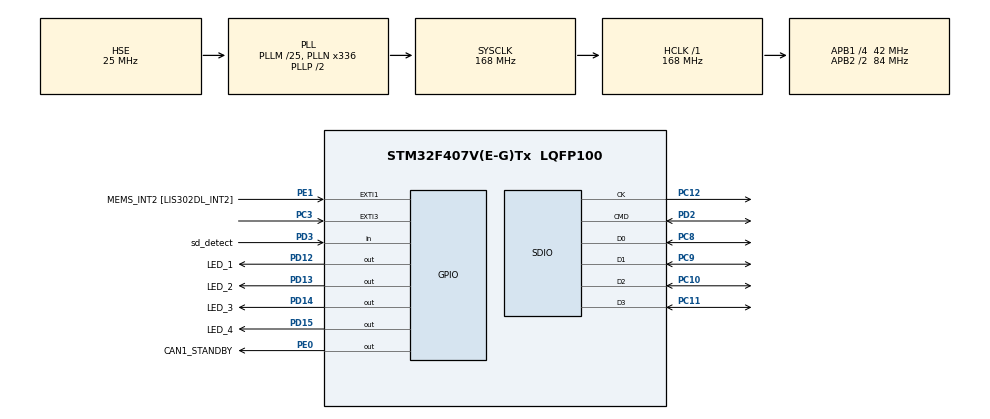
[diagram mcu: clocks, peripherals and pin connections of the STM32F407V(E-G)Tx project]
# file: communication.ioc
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Dma.Request0=SDIO_RX
Dma.Request1=SDIO_TX
Dma.SDIO_RX.0.Direction=DMA_PERIPH_TO_MEMORY
Dma.SDIO_RX.0.FIFOMode=DMA_FIFOMODE_ENABLE
Dma.SDIO_RX.0.FIFOThreshold=DMA_FIFO_THRESHOLD_FULL
Dma.SDIO_RX.0.Instance=DMA2_Stream3
Dma.SDIO_RX.0.MemBurst=DMA_MBURST_INC4
Dma.SDIO_RX.0.MemDataAlignment=DMA_MDATAALIGN_WORD
Dma.SDIO_RX.0.MemInc=DMA_MINC_ENABLE
Dma.SDIO_RX.0.Mode=DMA_PFCTRL
Dma.SDIO_RX.0.PeriphBurst=DMA_PBURST_INC4
Dma.SDIO_RX.0.PeriphDataAlignment=DMA_PDATAALIGN_WORD
Dma.SDIO_RX.0.PeriphInc=DMA_PINC_DISABLE
Dma.SDIO_RX.0.Priority=DMA_PRIORITY_VERY_HIGH
Dma.SDIO_TX.1.Direction=DMA_MEMORY_TO_PERIPH
Dma.SDIO_TX.1.FIFOMode=DMA_FIFOMODE_ENABLE
Dma.SDIO_TX.1.FIFOThreshold=DMA_FIFO_THRESHOLD_FULL
Dma.SDIO_TX.1.Instance=DMA2_Stream6
Dma.SDIO_TX.1.MemBurst=DMA_MBURST_INC4
Dma.SDIO_TX.1.MemDataAlignment=DMA_MDATAALIGN_WORD
Dma.SDIO_TX.1.MemInc=DMA_MINC_ENABLE
Dma.SDIO_TX.1.Mode=DMA_PFCTRL
Dma.SDIO_TX.1.PeriphBurst=DMA_PBURST_INC4
Dma.SDIO_TX.1.PeriphDataAlignment=DMA_PDATAALIGN_WORD
Dma.SDIO_TX.1.PeriphInc=DMA_PINC_DISABLE
Dma.SDIO_TX.1.Priority=DMA_PRIORITY_VERY_HIGH
FATFS.BSP.number=1
FATFS.USE_DMA_CODE_SD=1
FATFS._MAX_SS=4096
FATFS0.BSP.STBoard=false
FATFS0.BSP.api=Unknown
FATFS0.BSP.i2caddr=0
FATFS0.BSP.instance=PD3
FATFS0.BSP.ip=GPIO
FATFS0.BSP.mode=Input
FATFS0.BSP.name=Detect_SDIO
FATFS0.BSP.solution=PD3
Mcu.Family=STM32F4
Mcu.Name=STM32F407V(E-G)Tx
Mcu.Package=LQFP100
NVIC.DMA2_Stream3_IRQn=true\:5\:0\:true\:false\:true\:false\:true
NVIC.DMA2_Stream6_IRQn=true\:5\:0\:true\:false\:true\:false\:true
NVIC.EXTI3_IRQn=true\:0\:0\:false\:false\:true\:true\:true
NVIC.PriorityGroup=NVIC_PRIORITYGROUP_4
NVIC.SDIO_IRQn=true\:5\:0\:true\:false\:true\:true\:true
NVIC.TIM1_UP_TIM10_IRQn=true\:0\:0\:false\:false\:true\:false\:true
NVIC.TimeBase=TIM1_UP_TIM10_IRQn
NVIC.TimeBaseIP=TIM1
PA10.Signal=USART1_RX
PA13.GPIO_Label=SWDIO
PA13.Mode=Trace_Asynchronous_SW
PA13.Signal=SYS_JTMS-SWDIO
PA14.GPIO_Label=SWCLK
PA14.Mode=Trace_Asynchronous_SW
PA14.Signal=SYS_JTCK-SWCLK
PA5.Signal=SPI1_SCK
PA7.Signal=SPI1_MOSI
PA9.Signal=USART1_TX
PB3.GPIO_Label=SWO
PB3.Mode=Trace_Asynchronous_SW
PB3.Signal=SYS_JTDO-SWO
PC10.GPIO_PuPd=GPIO_PULLUP
PC10.Mode=SD_4_bits_Wide_bus
PC10.Signal=SDIO_D2
PC11.GPIO_PuPd=GPIO_PULLUP
PC11.Mode=SD_4_bits_Wide_bus
PC11.Signal=SDIO_D3
PC12.GPIO_PuPd=GPIO_PULLUP
PC12.Mode=SD_4_bits_Wide_bus
PC12.Signal=SDIO_CK
PC14-OSC32_IN.GPIO_Label=PC14-OSC32_IN
PC14-OSC32_IN.Mode=LSE-External-Oscillator
PC14-OSC32_IN.Signal=RCC_OSC32_IN
PC15-OSC32_OUT.GPIO_Label=PC15-OSC32_OUT
PC15-OSC32_OUT.Mode=LSE-External-Oscillator
PC15-OSC32_OUT.Signal=RCC_OSC32_OUT
PC3.GPIO_ModeDefaultEXTI=GPIO_MODE_IT_FALLING
PC3.GPIO_PuPd=GPIO_PULLUP
PC3.Signal=GPXTI3
PC8.GPIO_PuPd=GPIO_PULLUP
PC8.Mode=SD_4_bits_Wide_bus
PC8.Signal=SDIO_D0
PC9.GPIO_PuPd=GPIO_PULLUP
PC9.Mode=SD_4_bits_Wide_bus
PC9.Signal=SDIO_D1
PD12.GPIO_Label=LED_1
PD12.Signal=GPIO_Output
PD13.GPIO_Label=LED_2
PD13.Signal=GPIO_Output
PD14.GPIO_Label=LED_3
PD14.Signal=GPIO_Output
PD15.GPIO_Label=LED_4
PD15.GPIO_PuPd=GPIO_NOPULL
PD15.GPIO_Speed=GPIO_SPEED_FREQ_LOW
PD15.Signal=GPIO_Output
PD2.GPIO_PuPd=GPIO_PULLUP
PD2.Mode=SD_4_bits_Wide_bus
PD2.Signal=SDIO_CMD
PD3.GPIO_Label=sd_detect
PD3.GPIO_PuPd=GPIO_PULLDOWN
PD3.Signal=GPIO_Input
PE0.GPIO_Label=CAN1_STANDBY
PE0.Signal=GPIO_Output
PE1.GPIO_Label=MEMS_INT2 [LIS302DL_INT2]
PE1.GPIO_ModeDefaultEXTI=GPIO_MODE_EVT_RISING
PE1.GPIO_PuPd=GPIO_NOPULL
PE1.Signal=GPXTI1
PH0-OSC_IN.GPIO_Label=PH0-OSC_IN
PH0-OSC_IN.Mode=HSE-External-Clock-Source
PH0-OSC_IN.Signal=RCC_OSC_IN
PH1-OSC_OUT.Mode=HSE-External-Clock-Source
PH1-OSC_OUT.Signal=RCC_OSC_OUT
ProjectManager.HeapSize=0x200
ProjectManager.StackSize=0x400
ProjectManager.TargetToolchain=Makefile
RCC.48MHZClocksFreq_Value=48000000
RCC.AHBFreq_Value=168000000
RCC.APB1CLKDivider=RCC_HCLK_DIV4
RCC.APB1Freq_Value=42000000
RCC.APB1TimFreq_Value=84000000
RCC.APB2CLKDivider=RCC_HCLK_DIV2
RCC.APB2Freq_Value=84000000
RCC.APB2TimFreq_Value=168000000
RCC.CortexFreq_Value=168000000
RCC.HCLKFreq_Value=168000000
RCC.HSE_VALUE=25000000
RCC.HSI_VALUE=16000000
RCC.PLLM=25
RCC.PLLN=336
RCC.PLLQ=7
RCC.PLLSourceVirtual=RCC_PLLSOURCE_HSE
RCC.SYSCLKFreq_VALUE=168000000
RCC.SYSCLKSource=RCC_SYSCLKSOURCE_PLLCLK
RCC.VCOOutputFreq_Value=336000000
VP_FATFS_VS_SDIO.Mode=SDIO
VP_SYS_VS_tim1.Mode=TIM1
board=STM32F4DISCOVERY

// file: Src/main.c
/* USER CODE BEGIN Header */
/**
  ******************************************************************************
  * @file           : main.c
  * @brief          : Main program body
  ******************************************************************************
  * @attention
  *
  * <h2><center>&copy; Copyright (c) 2019 STMicroelectronics.
  * All rights reserved.</center></h2>
  *
  * This software component is licensed by ST under Ultimate Liberty license
  * SLA0044, the "License"; You may not use this file except in compliance with
  * the License. You may obtain a copy of the License at:
  *                             www.st.com/SLA0044
  *
  ******************************************************************************
  */
/* USER CODE END Header */

#include "main.h"
#include "dma.h"
#include "fatfs.h"
#include "sdio.h"
#include "gpio.h"

/* USER CODE BEGIN Includes */
#include "../../shared/app/blink.h"
#include "../../shared/app/sd.h"
#include "../../shared/bsp/bsp_can.h"
#include "../app/rx.h"
#include "../app/tx.h"
/* USER CODE END Includes */

/* USER CODE BEGIN PV */
//extern canInstance_t can1Instance;
/* USER CODE END PV */

void SystemClock_Config(void);

/* USER CODE BEGIN 0 */

/* TASK BLINK*/
#define APP_BLINK_NAME 		"BLINK"
#define APP_BLINK_ID		1
#define APP_BLINK_PRIORITY 	0
#define APP_BLINK_SIZE 		192

StaticTask_t APP_BLINK_BUFFER;
StackType_t APP_BLINK_STACK[ APP_BLINK_SIZE ];

/* TASK SD*/
#define APP_SD_NAME 	"SD"
#define APP_SD_ID 		2
#define APP_SD_PRIORITY 0
#define APP_SD_SIZE 	1000

StaticTask_t APP_SD_BUFFER;
StackType_t APP_SD_STACK[ APP_SD_SIZE ];

/* TASK TX*/
#define APP_TX_NAME 	"TX"
#define APP_TX_ID 		3
#define APP_TX_PRIORITY 0
#define APP_TX_SIZE 	192

StaticTask_t APP_TX_BUFFER;
StackType_t APP_TX_STACK[ APP_TX_SIZE ];

/* TASK RX*/
#define APP_RX_NAME 	"RX"
#define APP_RX_ID 		4
#define APP_RX_PRIORITY 0
#define APP_RX_SIZE 	192

StaticTask_t APP_RX_BUFFER;
StackType_t APP_RX_STACK[ APP_RX_SIZE ];

/* QUEUE */
#define APP_QUEUE_LENGTH    10
#define APP_ITEM_SIZE 		sizeof( can_reg_t )

static uint8_t ucQueueStorageArea[ APP_QUEUE_LENGTH * APP_ITEM_SIZE ];
static StaticQueue_t xQueueRxRegsHandle;

/* TIMER */
#define APP_NUM_TIMERS 		1
#define APP_TIMER_NAME 		"TIMER"
#define APP_TIMER_PERIOD 	500
#define APP_TIMER_ID 		1

TimerHandle_t regTransmiTtimerHandle;
StaticTimer_t xTimerBuffer;

/* Initialise comm project */
void comm_setup(void){

	QueueHandle_t xQueueRx;

	 //Create static queue
	xQueueRx = xQueueCreateStatic(APP_QUEUE_LENGTH,
			 	 	 	APP_ITEM_SIZE,
						ucQueueStorageArea,
						&xQueueRxRegsHandle);

	 //Create timer
	 regTransmiTtimerHandle = xTimerCreateStatic(APP_TIMER_NAME,
			 	 	 	 	 	 	 	 	 	 (APP_TIMER_PERIOD/portTICK_PERIOD_MS),
												 pdTRUE,
												 ( void * ) 0,
												 regTransmiTtimer_callback,
												 &xTimerBuffer);

}
/* USER CODE END 0 */

int main(void)
{

  /* MCU Configuration--------------------------------------------------------*/

  /* Reset of all peripherals, Initializes the Flash interface and the Systick. */
  HAL_Init();

  /* Configure the system clock */
  SystemClock_Config();

  /* USER CODE BEGIN SysInit */
 // can_canInit();
 // uart1_init();

  /* USER CODE END SysInit */

  /* Initialize all configured peripherals */
  MX_GPIO_Init();
  MX_DMA_Init();
  MX_SDIO_SD_Init();
  MX_FATFS_Init();
  /* USER CODE BEGIN 2 */

  comm_setup();

  TaskHandle_t xHandle = NULL;

   /* Create the task without using any dynamic memory allocation. */
   xHandle = xTaskCreateStatic(
            task_blink,       		/* Function that implements the task. */
            APP_BLINK_NAME,     	/* Text name for the task. */
			APP_BLINK_SIZE,     	/* Number of indexes in the xStack array. */
            ( void * ) NULL,    	/* Parameter passed into the task. */
            APP_BLINK_PRIORITY,		/* Priority at which the task is created. */
			APP_BLINK_STACK,    	/* Array to use as the task's stack. */
            &APP_BLINK_BUFFER );	/* Variable to hold the task's data structure. */

   xHandle = xTaskCreateStatic(
            task_sd,
            APP_SD_NAME,
			APP_SD_SIZE,
            ( void * ) NULL,
            APP_SD_PRIORITY,
			APP_SD_STACK,
            &APP_SD_BUFFER );

   xHandle = xTaskCreateStatic(
            task_rx,
            APP_RX_NAME,
			APP_RX_SIZE,
            ( void * ) NULL,
            APP_RX_PRIORITY,
			APP_RX_STACK,
            &APP_RX_BUFFER );

   xHandle = xTaskCreateStatic(
            task_tx,
            APP_TX_NAME,
			APP_TX_SIZE,
            ( void * ) NULL,
            APP_TX_PRIORITY,
			APP_TX_STACK,
            &APP_TX_BUFFER );

 	/* Start the scheduler. */
 	vTaskStartScheduler();
  /* USER CODE END 2 */

  /* Infinite loop */
  while (1)
  {

  }
}

void SystemClock_Config(void)
{
  RCC_OscInitTypeDef RCC_OscInitStruct = {0};
  RCC_ClkInitTypeDef RCC_ClkInitStruct = {0};

  /** Configure the main internal regulator output voltage
  */
  __HAL_RCC_PWR_CLK_ENABLE();
  __HAL_PWR_VOLTAGESCALING_CONFIG(PWR_REGULATOR_VOLTAGE_SCALE1);
  /** Initializes the CPU, AHB and APB busses clocks
  */
  RCC_OscInitStruct.OscillatorType = RCC_OSCILLATORTYPE_HSE;
  RCC_OscInitStruct.HSEState = RCC_HSE_BYPASS;
  RCC_OscInitStruct.PLL.PLLState = RCC_PLL_ON;
  RCC_OscInitStruct.PLL.PLLSource = RCC_PLLSOURCE_HSE;
  RCC_OscInitStruct.PLL.PLLM = 25;
  RCC_OscInitStruct.PLL.PLLN = 336;
  RCC_OscInitStruct.PLL.PLLP = RCC_PLLP_DIV2;
  RCC_OscInitStruct.PLL.PLLQ = 7;
  if (HAL_RCC_OscConfig(&RCC_OscInitStruct) != HAL_OK)
  {
    Error_Handler();
  }
  /** Initializes the CPU, AHB and APB busses clocks
  */
  RCC_ClkInitStruct.ClockType = RCC_CLOCKTYPE_HCLK|RCC_CLOCKTYPE_SYSCLK
                              |RCC_CLOCKTYPE_PCLK1|RCC_CLOCKTYPE_PCLK2;
  RCC_ClkInitStruct.SYSCLKSource = RCC_SYSCLKSOURCE_PLLCLK;
  RCC_ClkInitStruct.AHBCLKDivider = RCC_SYSCLK_DIV1;
  RCC_ClkInitStruct.APB1CLKDivider = RCC_HCLK_DIV4;
  RCC_ClkInitStruct.APB2CLKDivider = RCC_HCLK_DIV2;

  if (HAL_RCC_ClockConfig(&RCC_ClkInitStruct, FLASH_LATENCY_5) != HAL_OK)
  {
    Error_Handler();
  }
}

void HAL_TIM_PeriodElapsedCallback(TIM_HandleTypeDef *htim)
{
  if (htim->Instance == TIM1) {
    HAL_IncTick();
  }
}

void Error_Handler(void)
{
}

/************************ (C) COPYRIGHT STMicroelectronics *****END OF FILE****/

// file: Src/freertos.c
#include "main.h"

/* configSUPPORT_STATIC_ALLOCATION is set to 1, so the application must provide an
implementation of vApplicationGetIdleTaskMemory() to provide the memory that is
used by the Idle task. */
void vApplicationGetIdleTaskMemory( StaticTask_t **ppxIdleTaskTCBBuffer,
                                    StackType_t **ppxIdleTaskStackBuffer,
                                    uint32_t *pulIdleTaskStackSize )
{
/* If the buffers to be provided to the Idle task are declared inside this
function then they must be declared static – otherwise they will be allocated on
the stack and so not exists after this function exits. */
static StaticTask_t xIdleTaskTCB;
static StackType_t uxIdleTaskStack[ configMINIMAL_STACK_SIZE ];

    /* Pass out a pointer to the StaticTask_t structure in which the Idle task’s
    state will be stored. */
    *ppxIdleTaskTCBBuffer = &xIdleTaskTCB;

    /* Pass out the array that will be used as the Idle task’s stack. */
    *ppxIdleTaskStackBuffer = uxIdleTaskStack;

    /* Pass out the size of the array pointed to by *ppxIdleTaskStackBuffer.
    Note that, as the array is necessarily of type StackType_t,
    configMINIMAL_STACK_SIZE is specified in words, not bytes. */
    *pulIdleTaskStackSize = configMINIMAL_STACK_SIZE;
}
